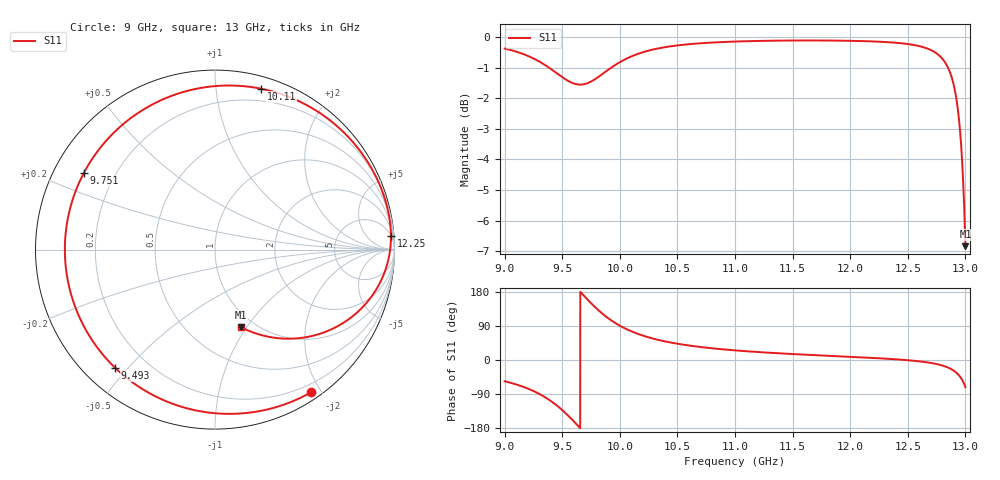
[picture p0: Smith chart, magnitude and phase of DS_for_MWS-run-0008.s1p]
! TOUCHSTONE file generated by CST DESIGN STUDIO
! Date and time: Tue Feb  4 18:04:03 2025
! Project name: C:\Work\MatlabApps\UnitCellOptimizationMatlab\CST\unitcell.cst
! Tree item: Tasks\Sweep1\SPara1\S-Parameters
! Header version: 2024
! Port assignment regex: !\s*Touchstone port\s*([0-9]+)\s*=\s*(CST MWS port|CST DES external port|CST DES block port)\s*(.+)\s* \(\"(.*)\"\)(\s*mode\s*([0-9]+))?.*
! Touchstone port assignment:
! Touchstone port 1 = CST DES external port 1 ("")
# GHz S MA R 50
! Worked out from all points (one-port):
!   4001 points, 9 GHz to 13 GHz, reference 50 ohm
!   lowest |S11| = -6.8 dB at 13 GHz (marker M1), VSWR 2.67, Z = 43.1 - j47 ohm
!   |S11| at or under -10 dB: nowhere
!   S11 on the Smith chart (normalised r, x): 9 GHz: 0.10, -1.88; 9.493 GHz: 0.09, -0.46; 9.751 GHz: 0.09, +0.27; 10.11 GHz: 0.10, +1.32; 12.25 GHz: 5, +24; 13 GHz: 0.86, -0.94
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9  0.9584 -56.0
9.161  0.9387 -70.7
9.311  0.9101 -91.1
9.408  0.8855 -109.6
9.493  0.8623 -130.2
9.5  0.8604 -132.0
9.571  0.8445 -152.6
9.631  0.8373 -171.7
9.689  0.8378 169.4
9.751  0.8463 149.8
9.81  0.86 132.6
9.869  0.8761 117.3
9.931  0.8931 103.5
10  0.9102 90.6
10.114  0.9326 74.0
10.287  0.9546 56.6
10.5  0.9696 42.9
11  0.9838 25.4
11.5  0.9877 15.7
12  0.9866 8.4
12.251  0.9833 4.5
12.5  0.9747 -0.5
12.73  0.9463 -9.4
12.854  0.8875 -20.5
12.896  0.8397 -27.5
12.93  0.774 -35.9
12.966  0.6533 -49.4
13  0.4551 -71.5
